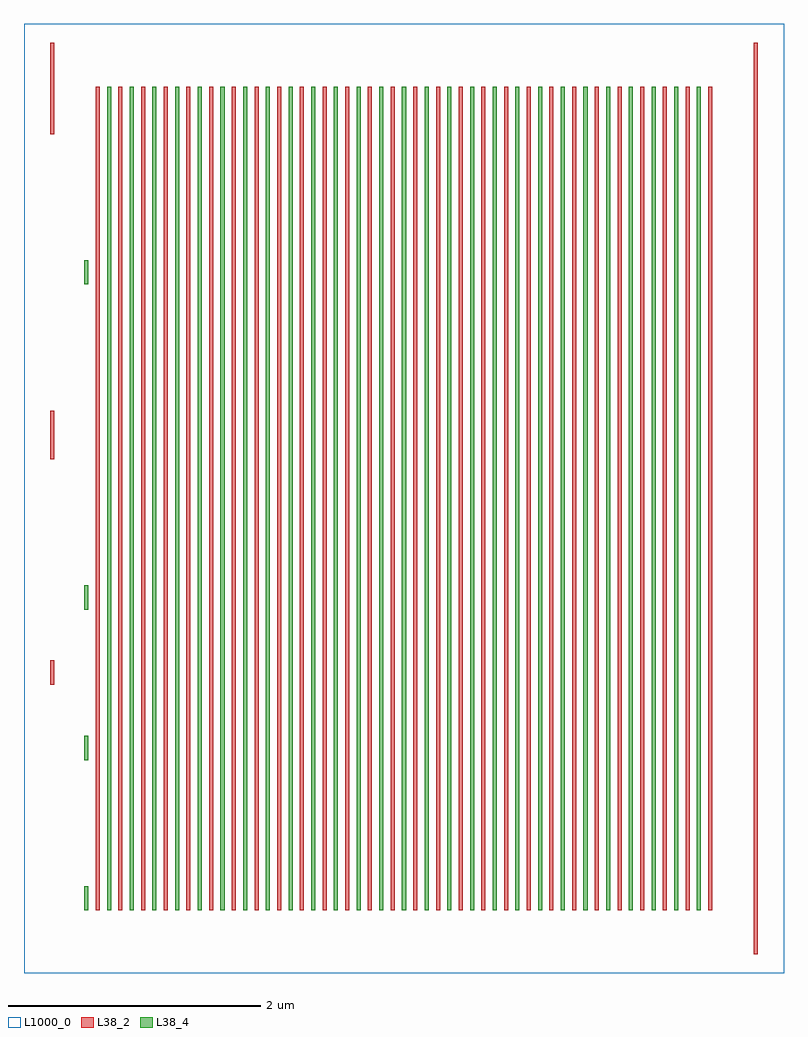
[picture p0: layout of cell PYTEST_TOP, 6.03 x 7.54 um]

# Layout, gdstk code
import gdstk
lib = gdstk.Library(unit=1e-6, precision=5e-10)
def R(c, l, rs):  # rectangles x0, y0, x1, y1
    for r in rs: c.add(gdstk.rectangle(r[:2], r[2:], *l))
def A(c, l, x, y, w, h, nx, ny, dx, dy):  # array of equal rectangles
    R(c, l, [(x+i*dx, y+j*dy, x+i*dx+w, y+j*dy+h) for i in range(nx) for j in range(ny)])
L38_2 = (38, 2)
L38_4 = (38, 4)
L1000_0 = (1000, 0)

pytest_top = lib.new_cell('PYTEST_TOP')
A(pytest_top, L38_2, 0.569, 0.5, 0.032, 6.536, 28, 1, 0.18, 0)
R(pytest_top, L38_2, [(5.789,0.1535,5.821,7.3825), (0.209,2.29,0.241,2.483), (0.209,4.08,0.241,4.466), (0.209,6.659,0.241,7.3825)])
A(pytest_top, L38_4, 0.659, 0.5, 0.032, 6.536, 27, 1, 0.18, 0)
R(pytest_top, L38_4, [(0.479,0.5,0.511,0.693), (0.479,1.693,0.511,1.886), (0.479,2.887,0.511,3.08), (0.479,5.466,0.511,5.659)])
R(pytest_top, L1000_0, [(0,0,6.03,7.536)])

lib.write_gds('PYTEST_TOP.gds')
